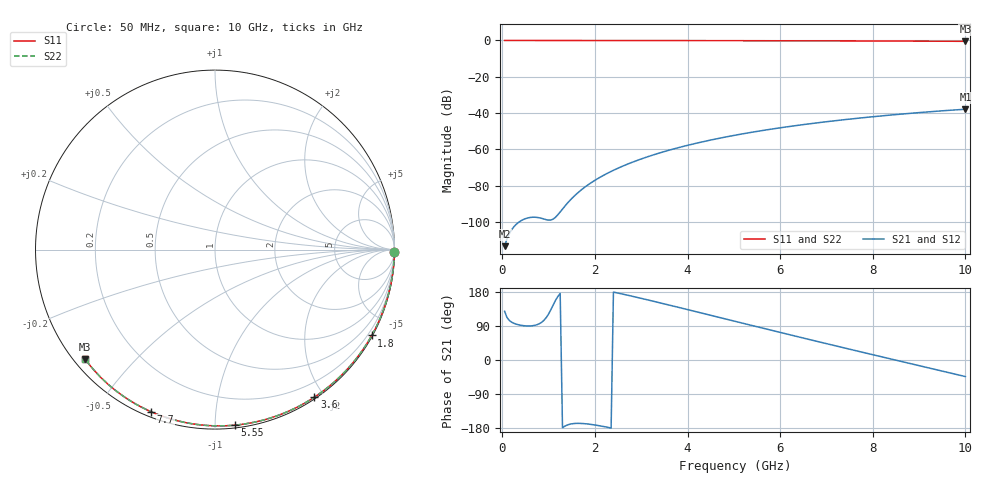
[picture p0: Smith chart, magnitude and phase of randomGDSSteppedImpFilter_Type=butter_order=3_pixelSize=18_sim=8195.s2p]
! freq	dB(S11)	phase(S11)	dB(S12)	phase(S12)
!  dB(S21)	phase(S21)	dB(S22)	phase(S22)
!S-par simulation data
#  GHz  S  DB  R 50
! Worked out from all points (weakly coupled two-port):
!   200 points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, 50 MHz to 10 GHz, reference 50 ohm
!   highest |S21| = -37.86 dB at 10 GHz (marker M1); lowest = -113.3 dB at 50 MHz (marker M2)
!   lowest |S11| = -0.5 dB at 10 GHz (marker M3), VSWR 36.54, Z = 1.55 - j18.3 ohm
!   |S11| at or under -10 dB: nowhere
!   |S22| runs from -0.5 to 0.0 dB; largest |S21 - S12| = 0
!   S11 on the Smith chart (normalised r, x): 50 MHz: open; 1.8 GHz: 0.03, -3.91; 3.6 GHz: 0.02, -1.88; 5.55 GHz: 0.02, -1.12; 7.7 GHz: 0.02, -0.68; 10 GHz: 0.03, -0.37
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0.05  -0.00 -0.8  -113.26 128.5  -113.26 128.5  -0.00 -0.8
0.45  -0.01 -7.3  -98.64 90.7  -98.64 90.7  -0.01 -7.3
0.9  -0.02 -14.5  -98.31 104.8  -98.31 104.8  -0.02 -14.5
1.75  -0.04 -27.9  -81.39 -167.8  -81.39 -167.8  -0.04 -27.9
1.8  -0.04 -28.7  -80.43 -168.3  -80.43 -168.3  -0.04 -28.7
1.85  -0.04 -29.5  -79.52 -168.9  -79.52 -168.9  -0.04 -29.5
2.05  -0.04 -32.6  -76.22 -172.5  -76.22 -172.5  -0.04 -32.6
2.2  -0.04 -34.9  -74.07 -175.8  -74.07 -175.8  -0.04 -34.9
2.55  -0.05 -40.3  -69.74 175.3  -69.74 175.3  -0.05 -40.3
2.95  -0.06 -46.4  -65.69 164.1  -65.69 164.1  -0.06 -46.4
3.4  -0.07 -53.1  -61.91 151.0  -61.91 151.0  -0.07 -53.1
3.6  -0.08 -56.1  -60.42 145.1  -60.42 145.1  -0.08 -56.1
3.9  -0.08 -60.4  -58.38 136.1  -58.38 136.1  -0.08 -60.4
4.3  -0.09 -66.2  -55.94 124.0  -55.94 124.0  -0.09 -66.2
5.05  -0.12 -76.7  -52.06 101.4  -52.06 101.4  -0.12 -76.7
5.55  -0.14 -83.6  -49.86 86.3  -49.86 86.3  -0.14 -83.6
6.1  -0.16 -90.9  -47.72 69.8  -47.72 69.8  -0.16 -90.9
6.7  -0.19 -98.8  -45.67 52.0  -45.67 52.0  -0.19 -98.8
7.7  -0.26 -111.5  -42.76 22.7  -42.76 22.7  -0.26 -111.5
8.35  -0.31 -119.6  -41.15 3.8  -41.15 3.8  -0.31 -119.6
9.2  -0.39 -130.0  -39.31 -20.7  -39.31 -20.7  -0.39 -130.0
10  -0.48 -139.7  -37.86 -43.7  -37.86 -43.7  -0.48 -139.7
